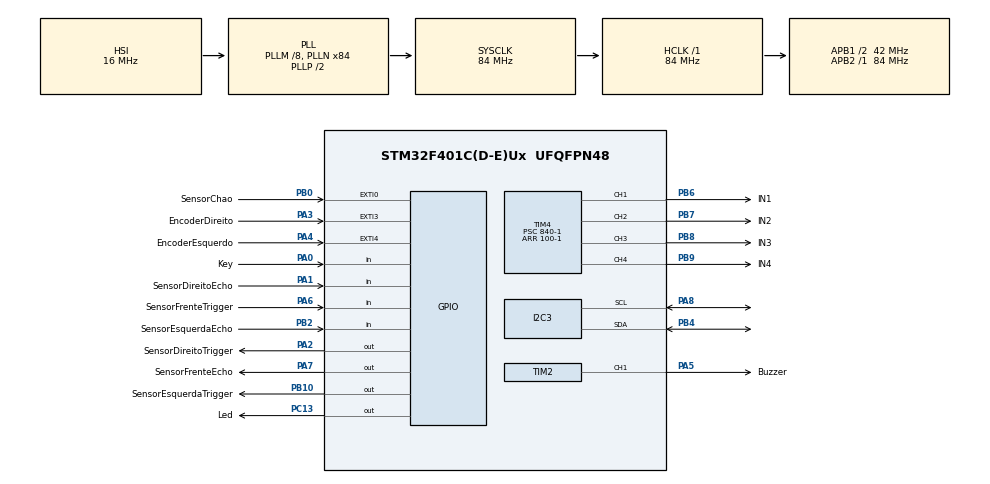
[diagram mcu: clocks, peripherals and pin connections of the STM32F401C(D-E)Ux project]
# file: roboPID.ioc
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FREERTOS.Tasks01=defaultTask,24,128,StartDefaultTask,Default,NULL,Dynamic,NULL,NULL;StateMachine,24,128,StartStateMachine,Default,NULL,Dynamic,NULL,NULL;PID,32,128,StartPID,Default,NULL,Dynamic,NULL,NULL
FREERTOS.configUSE_NEWLIB_REENTRANT=1
Mcu.Family=STM32F4
Mcu.Name=STM32F401C(D-E)Ux
Mcu.Package=UFQFPN48
NVIC.EXTI3_IRQn=true\:5\:0\:false\:false\:true\:true\:true\:true\:true
NVIC.EXTI4_IRQn=true\:5\:0\:false\:false\:true\:true\:true\:true\:true
NVIC.PriorityGroup=NVIC_PRIORITYGROUP_4
NVIC.TIM1_UP_TIM10_IRQn=true\:15\:0\:false\:false\:true\:false\:false\:true\:true
NVIC.TimeBase=TIM1_UP_TIM10_IRQn
NVIC.TimeBaseIP=TIM1
PA0-WKUP.GPIO_Label=Key
PA0-WKUP.GPIO_PuPd=GPIO_PULLUP
PA0-WKUP.Signal=GPIO_Input
PA1.GPIO_Label=SensorDireitoEcho
PA1.Signal=GPIO_Input
PA13.Mode=Serial_Wire
PA13.Signal=SYS_JTMS-SWDIO
PA14.Mode=Serial_Wire
PA14.Signal=SYS_JTCK-SWCLK
PA2.GPIO_Label=SensorDireitoTrigger
PA2.Signal=GPIO_Output
PA3.GPIO_Label=EncoderDireito
PA3.Signal=GPXTI3
PA4.GPIO_Label=EncoderEsquerdo
PA4.Signal=GPXTI4
PA5.GPIO_Label=Buzzer
PA5.Signal=S_TIM2_CH1_ETR
PA6.GPIO_Label=SensorFrenteTrigger
PA6.Signal=GPIO_Input
PA7.GPIO_Label=SensorFrenteEcho
PA7.Signal=GPIO_Output
PA8.Mode=I2C
PA8.Signal=I2C3_SCL
PB0.GPIO_Label=SensorChao
PB0.Signal=GPXTI0
PB10.GPIO_Label=SensorEsquerdaTrigger
PB10.Signal=GPIO_Output
PB2.GPIO_Label=SensorEsquerdaEcho
PB2.Signal=GPIO_Input
PB4.Mode=I2C
PB4.Signal=I2C3_SDA
PB6.GPIO_Label=IN1
PB6.Signal=S_TIM4_CH1
PB7.GPIO_Label=IN2
PB7.Signal=S_TIM4_CH2
PB8.GPIO_Label=IN3
PB8.Signal=S_TIM4_CH3
PB9.GPIO_Label=IN4
PB9.Signal=S_TIM4_CH4
PC13-ANTI_TAMP.GPIO_Label=Led
PC13-ANTI_TAMP.GPIO_PuPd=GPIO_PULLUP
PC13-ANTI_TAMP.Signal=GPIO_Output
ProjectManager.HeapSize=0x200
ProjectManager.StackSize=0x400
ProjectManager.TargetToolchain=STM32CubeIDE
RCC.48MHZClocksFreq_Value=42000000
RCC.AHBFreq_Value=84000000
RCC.APB1CLKDivider=RCC_HCLK_DIV2
RCC.APB1Freq_Value=42000000
RCC.APB1TimFreq_Value=84000000
RCC.APB2Freq_Value=84000000
RCC.APB2TimFreq_Value=84000000
RCC.CortexFreq_Value=84000000
RCC.HCLKFreq_Value=84000000
RCC.HSE_VALUE=25000000
RCC.HSI_VALUE=16000000
RCC.LSE_VALUE=32768
RCC.PLLM=8
RCC.PLLN=84
RCC.SYSCLKFreq_VALUE=84000000
RCC.SYSCLKSource=RCC_SYSCLKSOURCE_PLLCLK
RCC.VCOOutputFreq_Value=168000000
SH.S_TIM2_CH1_ETR.0=TIM2_CH1,PWM Generation1 CH1
SH.S_TIM4_CH1.0=TIM4_CH1,PWM Generation1 CH1
SH.S_TIM4_CH2.0=TIM4_CH2,PWM Generation2 CH2
SH.S_TIM4_CH3.0=TIM4_CH3,PWM Generation3 CH3
SH.S_TIM4_CH4.0=TIM4_CH4,PWM Generation4 CH4
TIM2.AutoReloadPreload=TIM_AUTORELOAD_PRELOAD_ENABLE
TIM2.Channel-PWM\ Generation1\ CH1=TIM_CHANNEL_1
TIM2.Period=10
TIM2.Prescaler=8400
TIM2.Pulse-PWM\ Generation1\ CH1=5
TIM3.AutoReloadPreload=TIM_AUTORELOAD_PRELOAD_ENABLE
TIM3.Prescaler=84-1
TIM4.AutoReloadPreload=TIM_AUTORELOAD_PRELOAD_ENABLE
TIM4.Channel-PWM\ Generation1\ CH1=TIM_CHANNEL_1
TIM4.Channel-PWM\ Generation2\ CH2=TIM_CHANNEL_2
TIM4.Channel-PWM\ Generation3\ CH3=TIM_CHANNEL_3
TIM4.Channel-PWM\ Generation4\ CH4=TIM_CHANNEL_4
TIM4.Period=100-1
TIM4.Prescaler=840-1
VP_FREERTOS_VS_CMSIS_V2.Mode=CMSIS_V2
VP_SYS_VS_tim1.Mode=TIM1
VP_TIM3_VS_ClockSourceINT.Mode=Internal
board=custom

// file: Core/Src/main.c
/* USER CODE BEGIN Header */
/**
 ******************************************************************************
 * @file           : main.c
 * @brief          : Main program body
 ******************************************************************************
 * @attention
 *
 * Copyright (c) 2023 STMicroelectronics.
 * All rights reserved.
 *
 * This software is licensed under terms that can be found in the LICENSE file
 * in the root directory of this software component.
 * If no LICENSE file comes with this software, it is provided AS-IS.
 *
 ******************************************************************************
 */
/* USER CODE END Header */
#include "main.h"
#include "cmsis_os.h"

/* USER CODE BEGIN Includes */

#include <stdbool.h>
#include "ssd1306.h"
#include <stdio.h>

/* USER CODE END Includes */

/* USER CODE BEGIN PTD */

typedef enum{

	AguardaBotao,
	LeSensores,
	Achou

} BarataTonta;

typedef struct{

	uint16_t Sensor_Frente;
	uint16_t Sensor_Esquerda;
	uint16_t Sensor_Direita;
	bool Sensor_Chao;

} robo;

/* USER CODE END PTD */

I2C_HandleTypeDef hi2c3;

TIM_HandleTypeDef htim2;
TIM_HandleTypeDef htim3;
TIM_HandleTypeDef htim4;

/* Definitions for defaultTask */
osThreadId_t defaultTaskHandle;
const osThreadAttr_t defaultTask_attributes = {
  .name = "defaultTask",
  .stack_size = 128 * 4,
  .priority = (osPriority_t) osPriorityNormal,
};
/* Definitions for StateMachine */
osThreadId_t StateMachineHandle;
const osThreadAttr_t StateMachine_attributes = {
  .name = "StateMachine",
  .stack_size = 128 * 4,
  .priority = (osPriority_t) osPriorityNormal,
};
/* Definitions for PID */
osThreadId_t PIDHandle;
const osThreadAttr_t PID_attributes = {
  .name = "PID",
  .stack_size = 128 * 4,
  .priority = (osPriority_t) osPriorityAboveNormal,
};
/* USER CODE BEGIN PV */

// encoders
int LeftEncoderCount=0;
int RightEncoderCount =0;

// flags movimentos
bool Flag_Mov_Forward=false;

bool Flag_RightMotor_Mov_Backward=false;
bool Flag_LeftMotor_Mov_Backward=false;
uint8_t Count_Mov_Backward = 50;

bool Flag_LeftMotor_Mov_RotateRight=false;
bool Flag_RightMotor_Mov_RotateRight=false;
uint8_t Count_Mov_RotateRight = 52;

bool Flag_LeftMotor_Mov_RotateLeft=false;
bool Flag_RightMotor_Mov_RotateLeft=false;
uint8_t Count_Mov_RotateLeft = 52;

// leis de controle

int lu0, lu1, le0, le1, le2;
int ru0, ru1, re0, re1, re2;
int LeftEncoderCountLast=0, RightEncoderCountLast=0;
float LeftActualSpeed=0,RightActualSpeed=0;

float Kp = 1;
float Ki = 1;
float Kd = 1;

float h1 = 0.01/2;
float h2 = 1/0.01;

float b0, b1, b2, a1;

//velocidade max motores
uint8_t LeftRefSpeed = 30;
uint8_t RightRefSpeed = 30;

// PWM motores
uint8_t MaxPWM_Right = 30;
uint8_t MaxPWM_Left = 30;

// structs e enums
robo Walle;
BarataTonta Barata = AguardaBotao;

/* USER CODE END PV */

void SystemClock_Config(void);
static void MX_GPIO_Init(void);
static void MX_I2C3_Init(void);
static void MX_TIM2_Init(void);
static void MX_TIM3_Init(void);
static void MX_TIM4_Init(void);
void StartDefaultTask(void *argument);
void StartStateMachine(void *argument);
void StartPID(void *argument);

/* USER CODE BEGIN PFP */

uint16_t Read_Ultrasonic(GPIO_TypeDef* TriggerPort, uint16_t TriggerPin, GPIO_TypeDef* EchoPort, uint16_t EchoPin);
void PlayBuzzer(int Freq, int duration);

/* USER CODE END PFP */

/* USER CODE BEGIN 0 */
void calcPID(){
	b0 = Kp + Ki*h1 + Kd*h2;
	b1 = -Kp + Ki*h1 - 2*Kd*h2;
	b2 = Kd*h2;
	a1 = -1;
}
/* USER CODE END 0 */

int main(void)
{
  /* USER CODE BEGIN 1 */

	// leis de controle

	calcPID();

  /* USER CODE END 1 */

  /* MCU Configuration--------------------------------------------------------*/

  /* Reset of all peripherals, Initializes the Flash interface and the Systick. */
  HAL_Init();

  /* Configure the system clock */
  SystemClock_Config();

  /* Initialize all configured peripherals */
  MX_GPIO_Init();
  MX_I2C3_Init();
  MX_TIM2_Init();
  MX_TIM3_Init();
  MX_TIM4_Init();
  /* USER CODE BEGIN 2 */

	//inicializacao do display
	ssd1306_Init();
	ssd1306_Fill(White);
	ssd1306_UpdateScreen();

	//inicializacao dos sensores
	HAL_TIM_Base_Start(&htim3);
	HAL_GPIO_WritePin(SensorFrenteTrigger_GPIO_Port, SensorFrenteTrigger_Pin , GPIO_PIN_RESET);  // pull the TRIG pin low
	HAL_GPIO_WritePin(SensorEsquerdaTrigger_GPIO_Port, SensorEsquerdaTrigger_Pin , GPIO_PIN_RESET);  // pull the TRIG pin low
	HAL_GPIO_WritePin(SensorDireitoTrigger_GPIO_Port, SensorDireitoTrigger_Pin , GPIO_PIN_RESET);  // pull the TRIG pin low

  /* USER CODE END 2 */

  /* Init scheduler */
  osKernelInitialize();

  /* Create the thread(s) */
  /* creation of defaultTask */
  defaultTaskHandle = osThreadNew(StartDefaultTask, NULL, &defaultTask_attributes);

  /* creation of StateMachine */
  StateMachineHandle = osThreadNew(StartStateMachine, NULL, &StateMachine_attributes);

  /* creation of PID */
  PIDHandle = osThreadNew(StartPID, NULL, &PID_attributes);

  /* Start scheduler */
  osKernelStart();

  /* We should never get here as control is now taken by the scheduler */
  /* Infinite loop */
	while (1)
	{

	}
}

void SystemClock_Config(void)
{
  RCC_OscInitTypeDef RCC_OscInitStruct = {0};
  RCC_ClkInitTypeDef RCC_ClkInitStruct = {0};

  /** Configure the main internal regulator output voltage
  */
  __HAL_RCC_PWR_CLK_ENABLE();
  __HAL_PWR_VOLTAGESCALING_CONFIG(PWR_REGULATOR_VOLTAGE_SCALE2);

  /** Initializes the RCC Oscillators according to the specified parameters
  * in the RCC_OscInitTypeDef structure.
  */
  RCC_OscInitStruct.OscillatorType = RCC_OSCILLATORTYPE_HSI;
  RCC_OscInitStruct.HSIState = RCC_HSI_ON;
  RCC_OscInitStruct.HSICalibrationValue = RCC_HSICALIBRATION_DEFAULT;
  RCC_OscInitStruct.PLL.PLLState = RCC_PLL_ON;
  RCC_OscInitStruct.PLL.PLLSource = RCC_PLLSOURCE_HSI;
  RCC_OscInitStruct.PLL.PLLM = 8;
  RCC_OscInitStruct.PLL.PLLN = 84;
  RCC_OscInitStruct.PLL.PLLP = RCC_PLLP_DIV2;
  RCC_OscInitStruct.PLL.PLLQ = 4;
  if (HAL_RCC_OscConfig(&RCC_OscInitStruct) != HAL_OK)
  {
    Error_Handler();
  }

  /** Initializes the CPU, AHB and APB buses clocks
  */
  RCC_ClkInitStruct.ClockType = RCC_CLOCKTYPE_HCLK|RCC_CLOCKTYPE_SYSCLK
                              |RCC_CLOCKTYPE_PCLK1|RCC_CLOCKTYPE_PCLK2;
  RCC_ClkInitStruct.SYSCLKSource = RCC_SYSCLKSOURCE_PLLCLK;
  RCC_ClkInitStruct.AHBCLKDivider = RCC_SYSCLK_DIV1;
  RCC_ClkInitStruct.APB1CLKDivider = RCC_HCLK_DIV2;
  RCC_ClkInitStruct.APB2CLKDivider = RCC_HCLK_DIV1;

  if (HAL_RCC_ClockConfig(&RCC_ClkInitStruct, FLASH_LATENCY_2) != HAL_OK)
  {
    Error_Handler();
  }
}

static void MX_I2C3_Init(void)
{

  hi2c3.Instance = I2C3;
  hi2c3.Init.ClockSpeed = 100000;
  hi2c3.Init.DutyCycle = I2C_DUTYCYCLE_2;
  hi2c3.Init.OwnAddress1 = 0;
  hi2c3.Init.AddressingMode = I2C_ADDRESSINGMODE_7BIT;
  hi2c3.Init.DualAddressMode = I2C_DUALADDRESS_DISABLE;
  hi2c3.Init.OwnAddress2 = 0;
  hi2c3.Init.GeneralCallMode = I2C_GENERALCALL_DISABLE;
  hi2c3.Init.NoStretchMode = I2C_NOSTRETCH_DISABLE;
  if (HAL_I2C_Init(&hi2c3) != HAL_OK)
  {
    Error_Handler();
  }

}

static void MX_TIM2_Init(void)
{

  TIM_MasterConfigTypeDef sMasterConfig = {0};
  TIM_OC_InitTypeDef sConfigOC = {0};

  htim2.Instance = TIM2;
  htim2.Init.Prescaler = 8400;
  htim2.Init.CounterMode = TIM_COUNTERMODE_UP;
  htim2.Init.Period = 10;
  htim2.Init.ClockDivision = TIM_CLOCKDIVISION_DIV1;
  htim2.Init.AutoReloadPreload = TIM_AUTORELOAD_PRELOAD_ENABLE;
  if (HAL_TIM_PWM_Init(&htim2) != HAL_OK)
  {
    Error_Handler();
  }
  sMasterConfig.MasterOutputTrigger = TIM_TRGO_RESET;
  sMasterConfig.MasterSlaveMode = TIM_MASTERSLAVEMODE_DISABLE;
  if (HAL_TIMEx_MasterConfigSynchronization(&htim2, &sMasterConfig) != HAL_OK)
  {
    Error_Handler();
  }
  sConfigOC.OCMode = TIM_OCMODE_PWM1;
  sConfigOC.Pulse = 5;
  sConfigOC.OCPolarity = TIM_OCPOLARITY_HIGH;
  sConfigOC.OCFastMode = TIM_OCFAST_DISABLE;
  if (HAL_TIM_PWM_ConfigChannel(&htim2, &sConfigOC, TIM_CHANNEL_1) != HAL_OK)
  {
    Error_Handler();
  }
  HAL_TIM_MspPostInit(&htim2);

}

static void MX_TIM3_Init(void)
{

  TIM_ClockConfigTypeDef sClockSourceConfig = {0};
  TIM_MasterConfigTypeDef sMasterConfig = {0};

  htim3.Instance = TIM3;
  htim3.Init.Prescaler = 84-1;
  htim3.Init.CounterMode = TIM_COUNTERMODE_UP;
  htim3.Init.Period = 65535;
  htim3.Init.ClockDivision = TIM_CLOCKDIVISION_DIV1;
  htim3.Init.AutoReloadPreload = TIM_AUTORELOAD_PRELOAD_ENABLE;
  if (HAL_TIM_Base_Init(&htim3) != HAL_OK)
  {
    Error_Handler();
  }
  sClockSourceConfig.ClockSource = TIM_CLOCKSOURCE_INTERNAL;
  if (HAL_TIM_ConfigClockSource(&htim3, &sClockSourceConfig) != HAL_OK)
  {
    Error_Handler();
  }
  sMasterConfig.MasterOutputTrigger = TIM_TRGO_RESET;
  sMasterConfig.MasterSlaveMode = TIM_MASTERSLAVEMODE_DISABLE;
  if (HAL_TIMEx_MasterConfigSynchronization(&htim3, &sMasterConfig) != HAL_OK)
  {
    Error_Handler();
  }

}

static void MX_TIM4_Init(void)
{

  TIM_MasterConfigTypeDef sMasterConfig = {0};
  TIM_OC_InitTypeDef sConfigOC = {0};

  htim4.Instance = TIM4;
  htim4.Init.Prescaler = 840-1;
  htim4.Init.CounterMode = TIM_COUNTERMODE_UP;
  htim4.Init.Period = 100-1;
  htim4.Init.ClockDivision = TIM_CLOCKDIVISION_DIV1;
  htim4.Init.AutoReloadPreload = TIM_AUTORELOAD_PRELOAD_ENABLE;
  if (HAL_TIM_PWM_Init(&htim4) != HAL_OK)
  {
    Error_Handler();
  }
  sMasterConfig.MasterOutputTrigger = TIM_TRGO_RESET;
  sMasterConfig.MasterSlaveMode = TIM_MASTERSLAVEMODE_DISABLE;
  if (HAL_TIMEx_MasterConfigSynchronization(&htim4, &sMasterConfig) != HAL_OK)
  {
    Error_Handler();
  }
  sConfigOC.OCMode = TIM_OCMODE_PWM1;
  sConfigOC.Pulse = 0;
  sConfigOC.OCPolarity = TIM_OCPOLARITY_HIGH;
  sConfigOC.OCFastMode = TIM_OCFAST_DISABLE;
  if (HAL_TIM_PWM_ConfigChannel(&htim4, &sConfigOC, TIM_CHANNEL_1) != HAL_OK)
  {
    Error_Handler();
  }
  if (HAL_TIM_PWM_ConfigChannel(&htim4, &sConfigOC, TIM_CHANNEL_2) != HAL_OK)
  {
    Error_Handler();
  }
  if (HAL_TIM_PWM_ConfigChannel(&htim4, &sConfigOC, TIM_CHANNEL_3) != HAL_OK)
  {
    Error_Handler();
  }
  if (HAL_TIM_PWM_ConfigChannel(&htim4, &sConfigOC, TIM_CHANNEL_4) != HAL_OK)
  {
    Error_Handler();
  }
  HAL_TIM_MspPostInit(&htim4);

}

static void MX_GPIO_Init(void)
{
  GPIO_InitTypeDef GPIO_InitStruct = {0};

  /* GPIO Ports Clock Enable */
  __HAL_RCC_GPIOC_CLK_ENABLE();
  __HAL_RCC_GPIOA_CLK_ENABLE();
  __HAL_RCC_GPIOB_CLK_ENABLE();

  /*Configure GPIO pin Output Level */
  HAL_GPIO_WritePin(Led_GPIO_Port, Led_Pin, GPIO_PIN_RESET);

  /*Configure GPIO pin Output Level */
  HAL_GPIO_WritePin(GPIOA, SensorDireitoTrigger_Pin|SensorFrenteEcho_Pin, GPIO_PIN_RESET);

  /*Configure GPIO pin Output Level */
  HAL_GPIO_WritePin(SensorEsquerdaTrigger_GPIO_Port, SensorEsquerdaTrigger_Pin, GPIO_PIN_RESET);

  /*Configure GPIO pin : Led_Pin */
  GPIO_InitStruct.Pin = Led_Pin;
  GPIO_InitStruct.Mode = GPIO_MODE_OUTPUT_PP;
  GPIO_InitStruct.Pull = GPIO_PULLUP;
  GPIO_InitStruct.Speed = GPIO_SPEED_FREQ_LOW;
  HAL_GPIO_Init(Led_GPIO_Port, &GPIO_InitStruct);

  /*Configure GPIO pin : Key_Pin */
  GPIO_InitStruct.Pin = Key_Pin;
  GPIO_InitStruct.Mode = GPIO_MODE_INPUT;
  GPIO_InitStruct.Pull = GPIO_PULLUP;
  HAL_GPIO_Init(Key_GPIO_Port, &GPIO_InitStruct);

  /*Configure GPIO pins : SensorDireitoEcho_Pin SensorFrenteTrigger_Pin */
  GPIO_InitStruct.Pin = SensorDireitoEcho_Pin|SensorFrenteTrigger_Pin;
  GPIO_InitStruct.Mode = GPIO_MODE_INPUT;
  GPIO_InitStruct.Pull = GPIO_NOPULL;
  HAL_GPIO_Init(GPIOA, &GPIO_InitStruct);

  /*Configure GPIO pins : SensorDireitoTrigger_Pin SensorFrenteEcho_Pin */
  GPIO_InitStruct.Pin = SensorDireitoTrigger_Pin|SensorFrenteEcho_Pin;
  GPIO_InitStruct.Mode = GPIO_MODE_OUTPUT_PP;
  GPIO_InitStruct.Pull = GPIO_NOPULL;
  GPIO_InitStruct.Speed = GPIO_SPEED_FREQ_LOW;
  HAL_GPIO_Init(GPIOA, &GPIO_InitStruct);

  /*Configure GPIO pins : EncoderDireito_Pin EncoderEsquerdo_Pin */
  GPIO_InitStruct.Pin = EncoderDireito_Pin|EncoderEsquerdo_Pin;
  GPIO_InitStruct.Mode = GPIO_MODE_IT_RISING;
  GPIO_InitStruct.Pull = GPIO_NOPULL;
  HAL_GPIO_Init(GPIOA, &GPIO_InitStruct);

  /*Configure GPIO pin : SensorChao_Pin */
  GPIO_InitStruct.Pin = SensorChao_Pin;
  GPIO_InitStruct.Mode = GPIO_MODE_IT_RISING;
  GPIO_InitStruct.Pull = GPIO_NOPULL;
  HAL_GPIO_Init(SensorChao_GPIO_Port, &GPIO_InitStruct);

  /*Configure GPIO pin : SensorEsquerdaEcho_Pin */
  GPIO_InitStruct.Pin = SensorEsquerdaEcho_Pin;
  GPIO_InitStruct.Mode = GPIO_MODE_INPUT;
  GPIO_InitStruct.Pull = GPIO_NOPULL;
  HAL_GPIO_Init(SensorEsquerdaEcho_GPIO_Port, &GPIO_InitStruct);

  /*Configure GPIO pin : SensorEsquerdaTrigger_Pin */
  GPIO_InitStruct.Pin = SensorEsquerdaTrigger_Pin;
  GPIO_InitStruct.Mode = GPIO_MODE_OUTPUT_PP;
  GPIO_InitStruct.Pull = GPIO_NOPULL;
  GPIO_InitStruct.Speed = GPIO_SPEED_FREQ_LOW;
  HAL_GPIO_Init(SensorEsquerdaTrigger_GPIO_Port, &GPIO_InitStruct);

  /* EXTI interrupt init*/
  HAL_NVIC_SetPriority(EXTI3_IRQn, 5, 0);
  HAL_NVIC_EnableIRQ(EXTI3_IRQn);

  HAL_NVIC_SetPriority(EXTI4_IRQn, 5, 0);
  HAL_NVIC_EnableIRQ(EXTI4_IRQn);

}

/* USER CODE BEGIN 4 */

// buzzer
void Buzzer_InitialSong()
{
	PlayBuzzer(500, 500);
	osDelay(500);
	PlayBuzzer(500, 500);
	osDelay(500);
	PlayBuzzer(500, 500);
	osDelay(500);
}

void Buzzer_FinishSong()
{
	PlayBuzzer(200, 100);
	osDelay(10);
	PlayBuzzer(500, 100);
	osDelay(10);
	PlayBuzzer(1000, 150);
	osDelay(500);
	PlayBuzzer(1000, 1000);
}

void PlayBuzzer(int Freq, int duration)
{
	/*
	 * 1 contagem no ARR = 10000Hz. 10 contagens = 1000Hz. 100 contagens = 100 Hz....
	 * CCR1 = ARR/2 para ter onda quadrada
	 */
	TIM2->ARR = 10000/Freq;
	TIM2->CCR1 = 5000/Freq;
	HAL_TIM_PWM_Start(&htim2, TIM_CHANNEL_1);

	if(Freq >5000)
		return;

	TIM2->ARR = 10000/Freq;
	TIM2->CCR1 = 5000/Freq;

	osDelay(duration);

	HAL_TIM_PWM_Stop(&htim2, TIM_CHANNEL_1);

}

// display
void Print_Distance(){

	char text[20] = {};

	ssd1306_Fill(Black);

	ssd1306_SetCursor(0, 0);
	sprintf(text,"esq: %hu", Walle.Sensor_Esquerda);
	ssd1306_WriteString(text, Font_11x18, White);

	ssd1306_SetCursor(0, 20);
	sprintf(text,"Dir: %hu", Walle.Sensor_Direita);
	ssd1306_WriteString(text, Font_11x18, White);

	ssd1306_SetCursor(0, 40);
	sprintf(text,"Frt: %hu", Walle.Sensor_Frente);
	ssd1306_WriteString(text, Font_11x18, White);

	ssd1306_UpdateScreen();

}

void Print_Encoders(){
	char text[20] = {};

	ssd1306_Fill(Black);

	ssd1306_SetCursor(0, 0);
	sprintf(text,"esq: %d", LeftEncoderCount);
	ssd1306_WriteString(text, Font_11x18, White);

	ssd1306_SetCursor(0, 20);
	sprintf(text,"Dir: %d", RightEncoderCount);
	ssd1306_WriteString(text, Font_11x18, White);

	ssd1306_UpdateScreen();
}

// sensores
void LerSensores(){

	Walle.Sensor_Direita = Read_Ultrasonic(SensorDireitoTrigger_GPIO_Port, SensorDireitoTrigger_Pin, SensorDireitoEcho_GPIO_Port, SensorDireitoEcho_Pin);
	Walle.Sensor_Esquerda = Read_Ultrasonic(SensorEsquerdaTrigger_GPIO_Port, SensorEsquerdaTrigger_Pin, SensorEsquerdaEcho_GPIO_Port, SensorEsquerdaEcho_Pin);
	Walle.Sensor_Frente = Read_Ultrasonic(SensorFrenteTrigger_GPIO_Port, SensorFrenteTrigger_Pin, SensorFrenteEcho_GPIO_Port, SensorFrenteEcho_Pin);
}

uint16_t Read_Ultrasonic(GPIO_TypeDef* TriggerPort, uint16_t TriggerPin, GPIO_TypeDef* EchoPort, uint16_t EchoPin){

	uint32_t pMillis;
	uint32_t Value1 = 0;
	uint32_t Value2 = 0;
	uint16_t Distance  = 0;  // cm

	HAL_GPIO_WritePin(TriggerPort, TriggerPin, GPIO_PIN_SET);  // pull the TRIG pin HIGH
	__HAL_TIM_SET_COUNTER(&htim3, 0);
	while(__HAL_TIM_GET_COUNTER (&htim3) < 10);  // wait for 10 us
	HAL_GPIO_WritePin(TriggerPort, TriggerPin, GPIO_PIN_RESET);  // pull the TRIG pin low

	pMillis = HAL_GetTick(); // used this to avoid infinite while loop  (for timeout)
	// wait for the echo pin to go high
	while (!(HAL_GPIO_ReadPin (EchoPort, EchoPin)) && pMillis + 10 >  HAL_GetTick());
	Value1 = __HAL_TIM_GET_COUNTER (&htim3);

	pMillis = HAL_GetTick(); // used this to avoid infinite while loop (for timeout)
	// wait for the echo pin to go low
	while ((HAL_GPIO_ReadPin (EchoPort, EchoPin)) && pMillis + 50 > HAL_GetTick());
	Value2 = __HAL_TIM_GET_COUNTER (&htim3);

	Distance = (Value2-Value1)* 0.034/2;

	return Distance;
}

// controle velocidade
void SetDefaultSpeed(){
	TIM4->CCR1 = MaxPWM_Right;
	TIM4->CCR2 = MaxPWM_Right;
	TIM4->CCR3 = MaxPWM_Left;
	TIM4->CCR4 = MaxPWM_Left;
}

void RightMotorSpeed(uint8_t speed){
	//MaxPWM = speed;
	if (speed<=1)
		speed = 1;

	if (speed>100)
		speed=100;

	TIM4->CCR1 = speed-1;
	TIM4->CCR2 = speed-1;
}

void LeftMotorSpeed(uint8_t speed)
{
	if (speed<=1)
		speed=1;

	if (speed>100)
		speed=100;

	TIM4->CCR3 = speed-1;
	TIM4->CCR4 = speed-1;
}

// macros roda direita
void RightMotorForward()
{
	HAL_TIM_PWM_Start(&htim4,TIM_CHANNEL_2);
	HAL_TIM_PWM_Stop(&htim4,TIM_CHANNEL_1);
}

void RightMotorBackward()
{
	HAL_TIM_PWM_Start(&htim4,TIM_CHANNEL_1);
	HAL_TIM_PWM_Stop(&htim4,TIM_CHANNEL_2);
}

void RightMotorStop()
{
	HAL_TIM_PWM_Stop(&htim4,TIM_CHANNEL_1);
	HAL_TIM_PWM_Stop(&htim4,TIM_CHANNEL_2);

}

// macros roda direita
void LeftMotorForward()
{
	HAL_TIM_PWM_Start(&htim4,TIM_CHANNEL_3);
	HAL_TIM_PWM_Stop(&htim4,TIM_CHANNEL_4);

}

void LeftMotorBackward()
{
	HAL_TIM_PWM_Start(&htim4,TIM_CHANNEL_4);
	HAL_TIM_PWM_Stop(&htim4,TIM_CHANNEL_3);
}

void LeftMotorStop()
{
	HAL_TIM_PWM_Stop(&htim4,TIM_CHANNEL_3);
	HAL_TIM_PWM_Stop(&htim4,TIM_CHANNEL_4);

}

// movimentos
void Mov_Forward()
{
	RightEncoderCount=0;
	LeftEncoderCount=0;

	Flag_Mov_Forward=true;

	SetDefaultSpeed();

	RightMotorForward();
	LeftMotorForward();

}

void Mov_Backward(){
	RightEncoderCount=0;
	LeftEncoderCount=0;

	Flag_RightMotor_Mov_Backward = true;
	Flag_LeftMotor_Mov_Backward = true;

	SetDefaultSpeed();

	RightMotorBackward();
	LeftMotorBackward();
}

void Mov_RotateRight()
{
	RightEncoderCount=0;
	LeftEncoderCount=0;

	Flag_LeftMotor_Mov_RotateRight=true;

	SetDefaultSpeed();
	LeftMotorForward();

	while(Flag_LeftMotor_Mov_RotateRight)
	{
		if(LeftEncoderCount >= Count_Mov_RotateRight)
		{
			LeftMotorStop();
			Flag_LeftMotor_Mov_RotateRight=false;
		}
	}
}

void Mov_RotateLeft()
{
	RightEncoderCount=0;
	LeftEncoderCount=0;

	Flag_RightMotor_Mov_RotateLeft=true;

	SetDefaultSpeed();
	RightMotorForward();

	while(Flag_RightMotor_Mov_RotateLeft)
	{
		if(RightEncoderCount >= Count_Mov_RotateLeft){
			RightMotorStop();
			Flag_RightMotor_Mov_RotateLeft=false;
		}
	}
}

// callback encoder
void HAL_GPIO_EXTI_Callback(uint16_t GPIO_Pin){

	if(GPIO_Pin == EncoderEsquerdo_Pin){
		LeftEncoderCount++;
	}
	if(GPIO_Pin == EncoderDireito_Pin){
		RightEncoderCount++;
	}

	if(GPIO_Pin == SensorChao_Pin)
	{
		//Barata = Achou;
	}
}

/* USER CODE END 4 */

void StartDefaultTask(void *argument)
{
  /* USER CODE BEGIN 5 */
	/* Infinite loop */
	for(;;)
	{
		osDelay(10000);
	}
  /* USER CODE END 5 */
}

void StartStateMachine(void *argument)
{
  /* USER CODE BEGIN StartStateMachine */
	/* Infinite loop */

	for(;;)
	{
		switch (Barata) {

		case AguardaBotao:

			if(!HAL_GPIO_ReadPin(Key_GPIO_Port, Key_Pin))
			{
				osDelay(200);
				Buzzer_InitialSong();

				Barata = LeSensores;
			}

			osDelay(50);
			break;

		case LeSensores:

			LerSensores();

			// se a frente ta livre e estamos parados -> anda pra frente
			if(Walle.Sensor_Direita > 20 && Walle.Sensor_Esquerda > 20 && Walle.Sensor_Frente > 20  && !Flag_Mov_Forward)
			{
				Mov_Forward();
			}

			// se a frente NÃO ta livre e estamos parados - > vira pra direita
			else if( (Walle.Sensor_Direita < 20 || Walle.Sensor_Esquerda < 20 || Walle.Sensor_Frente < 20) && !Flag_Mov_Forward)
			{
				Mov_RotateRight();
			}

			// se estamos andando...
			else if(Flag_Mov_Forward)
			{
				/* e encontramos um obstáculo...
				 *
				 * aqui cabe VARIAS MELHORIAS
				 *
				 */
				if(Walle.Sensor_Direita < 20 || Walle.Sensor_Esquerda < 20 || Walle.Sensor_Frente < 20 )
				{
					LeftMotorStop();
					RightMotorStop();
					Flag_Mov_Forward = false;
					Mov_RotateRight();
				}
			}

			osDelay(10);

			break;

		case Achou:

			Buzzer_FinishSong();
			Barata = AguardaBotao;

			break;
		default:
			break;
		}

		osDelay(1);

	}
  /* USER CODE END StartStateMachine */
}

void StartPID(void *argument)
{
  /* USER CODE BEGIN StartPID */
	/* Infinite loop */
	for(;;)
	{
		if(Flag_Mov_Forward){

			// velocidade atual (counts/10ms)
			LeftActualSpeed = (LeftEncoderCount - LeftEncoderCountLast)/0.01;
			RightActualSpeed = (RightEncoderCount - RightEncoderCountLast)/0.01;

			LeftEncoderCountLast = RightEncoderCount;
			RightEncoderCountLast = RightEncoderCount;

			// erro
			le0 = LeftRefSpeed - LeftActualSpeed;
			re0 = RightRefSpeed - RightActualSpeed;

			// leis de controle
			lu0 = le0*b0 + le1*b1 + le2*b2 - lu1*a1;
			ru0 = re0*b0 + re1*b1 + re2*b2 - ru1*a1;

			// saturação
			if(lu0 < 0 ) lu0 = 0;
			if(ru0 < 0 ) ru0 = 0;

			if(lu0 > 99) lu0 = 99;
			if(ru0 > 99) ru0 = 99;

			// anteriores
			lu1 = lu0;
			le2 = le1;
			le1 = le0;

			LeftMotorSpeed(lu0);
			RightMotorSpeed(ru0);

		}
		osDelay(10);
	}
  /* USER CODE END StartPID */
}

void HAL_TIM_PeriodElapsedCallback(TIM_HandleTypeDef *htim)
{
  if (htim->Instance == TIM1) {
    HAL_IncTick();
  }
}

void Error_Handler(void)
{
	__disable_irq();
	while (1)
	{
	}
}
